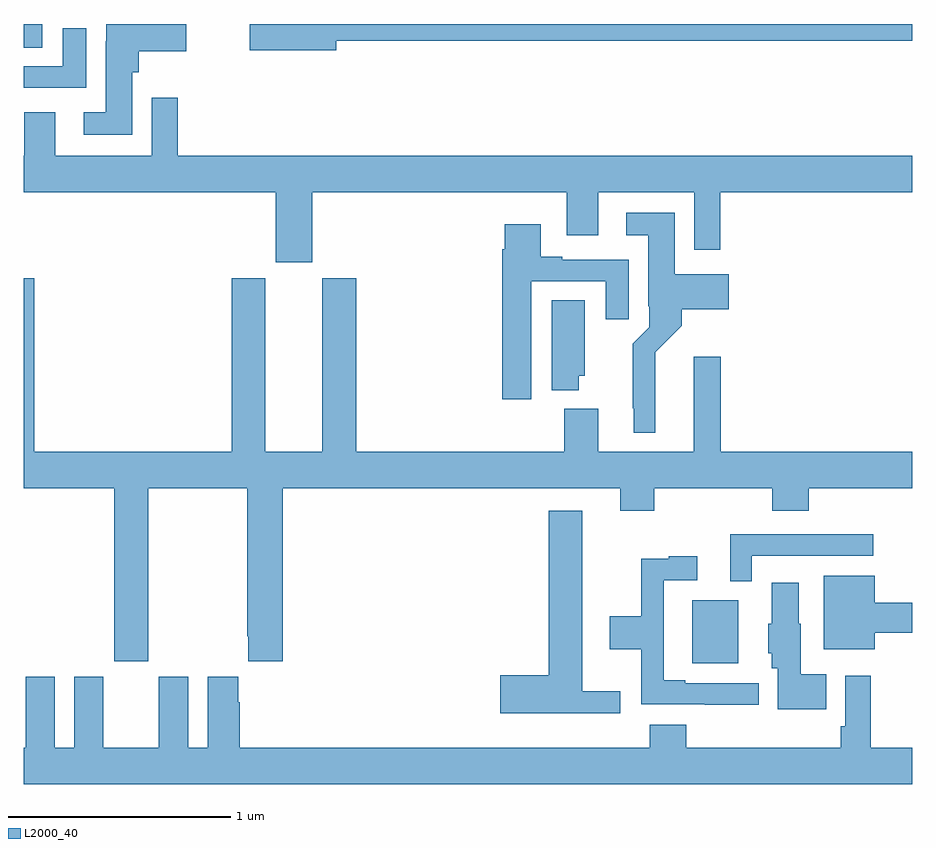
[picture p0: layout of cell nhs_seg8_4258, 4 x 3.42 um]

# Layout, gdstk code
import gdstk
lib = gdstk.Library(unit=1e-6, precision=1e-09)
def R(c, l, rs):  # rectangles x0, y0, x1, y1
    for r in rs: c.add(gdstk.rectangle(r[:2], r[2:], *l))
def P(c, l, *ps):  # polygons
    for p in ps: c.add(gdstk.Polygon(p, *l))
L2000_40 = (2000, 40)

nhs_seg8_4258 = lib.new_cell('nhs_seg8_4258')
R(nhs_seg8_4258, L2000_40, [(374.009,1137.023,374.215,1137.307), (371,1139.794,371.083,1139.9)])
P(nhs_seg8_4258, L2000_40, [(371.488,1139.682),(371.519,1139.682),(371.519,1139.777),(371.731,1139.777),(371.731,1139.9),(371.373,1139.9),(371.373,1139.822),(371.369,1139.822),(371.369,1139.503),(371.271,1139.503),(371.271,1139.402),(371.488,1139.402)],
  [(372.406,1139.824),(375,1139.824),(375,1139.9),(372.018,1139.9),(372.018,1139.782),(372.406,1139.782)],
  [(371.281,1139.881),(371.177,1139.881),(371.177,1139.709),(371,1139.709),(371,1139.613),(371.281,1139.613)],
  [(372.298,1139.144),(373.445,1139.144),(373.445,1138.95),(373.585,1138.95),(373.585,1139.144),(374.019,1139.144),(374.019,1138.884),(374.135,1138.884),(374.135,1139.144),(375,1139.144),(375,1139.308),(371.693,1139.308),(371.693,1139.569),(371.577,1139.569),(371.577,1139.308),(371.143,1139.308),(371.143,1139.503),(371.003,1139.503),(371.003,1139.308),(371,1139.308),(371,1139.144),(372.134,1139.144),(372.134,1138.827),(372.298,1138.827)],
  [(373.843,1138.424),(373.961,1138.542),(373.961,1138.616),(374.173,1138.616),(374.173,1138.774),(373.93,1138.774),(373.93,1139.05),(373.713,1139.05),(373.713,1138.949),(373.811,1138.949),(373.811,1138.63),(373.815,1138.63),(373.815,1138.536),(373.741,1138.462),(373.741,1138.171),(373.745,1138.171),(373.745,1138.061),(373.843,1138.061)],
  [(373.285,1138.743),(373.619,1138.743),(373.619,1138.572),(373.723,1138.572),(373.723,1138.839),(373.423,1138.839),(373.423,1138.852),(373.327,1138.852),(373.327,1138.999),(373.166,1138.999),(373.166,1138.886),(373.154,1138.886),(373.154,1138.212),(373.285,1138.212)],
  [(371.562,1137.812),(372.007,1137.812),(372.007,1137.145),(372.011,1137.145),(372.011,1137.033),(372.167,1137.033),(372.167,1137.812),(373.685,1137.812),(373.685,1137.71),(373.838,1137.71),(373.838,1137.812),(374.369,1137.812),(374.369,1137.71),(374.534,1137.71),(374.534,1137.812),(375,1137.812),(375,1137.976),(374.138,1137.976),(374.138,1138.402),(374.015,1138.402),(374.015,1137.976),(373.585,1137.976),(373.585,1138.168),(373.433,1138.168),(373.433,1137.976),(372.497,1137.976),(372.497,1138.755),(372.344,1138.755),(372.344,1137.976),(372.088,1137.976),(372.088,1138.755),(371.936,1138.755),(371.936,1137.976),(371.048,1137.976),(371.048,1138.756),(371,1138.756),(371,1137.812),(371.407,1137.812),(371.407,1137.033),(371.562,1137.033)],
  [(373.498,1138.317),(373.525,1138.317),(373.525,1138.658),(373.376,1138.658),(373.376,1138.253),(373.498,1138.253)],
  [(373.684,1136.897),(373.513,1136.897),(373.513,1137.709),(373.364,1137.709),(373.364,1136.969),(373.146,1136.969),(373.146,1136.798),(373.684,1136.798)],
  [(374.277,1137.507),(374.824,1137.507),(374.824,1137.603),(374.18,1137.603),(374.18,1137.392),(374.277,1137.392)],
  [(374.308,1136.934),(373.978,1136.934),(373.978,1136.947),(373.881,1136.947),(373.881,1137.396),(374.032,1137.396),(374.032,1137.505),(373.904,1137.505),(373.904,1137.494),(373.78,1137.494),(373.78,1137.234),(373.638,1137.234),(373.638,1137.086),(373.78,1137.086),(373.78,1136.838),(374.065,1136.838),(374.065,1136.837),(374.308,1136.837)],
  [(374.83,1137.16),(375,1137.16),(375,1137.296),(374.83,1137.296),(374.83,1137.418),(374.6,1137.418),(374.6,1137.086),(374.83,1137.086)],
  [(374.612,1136.974),(374.497,1136.974),(374.497,1137.201),(374.488,1137.201),(374.488,1137.385),(374.366,1137.385),(374.366,1137.201),(374.351,1137.201),(374.351,1137.069),(374.366,1137.069),(374.366,1137),(374.393,1137),(374.393,1136.816),(374.612,1136.816)],
  [(375,1136.644),(374.813,1136.644),(374.813,1136.968),(374.697,1136.968),(374.697,1136.74),(374.677,1136.74),(374.677,1136.644),(373.982,1136.644),(373.982,1136.746),(373.817,1136.746),(373.817,1136.644),(371.972,1136.644),(371.972,1136.849),(371.965,1136.849),(371.965,1136.962),(371.828,1136.962),(371.828,1136.644),(371.74,1136.644),(371.74,1136.962),(371.609,1136.962),(371.609,1136.644),(371.359,1136.644),(371.359,1136.962),(371.228,1136.962),(371.228,1136.644),(371.14,1136.644),(371.14,1136.962),(371.009,1136.962),(371.009,1136.644),(371,1136.644),(371,1136.48),(375,1136.48)])

lib.write_gds('nhs_seg8_4258.gds')
